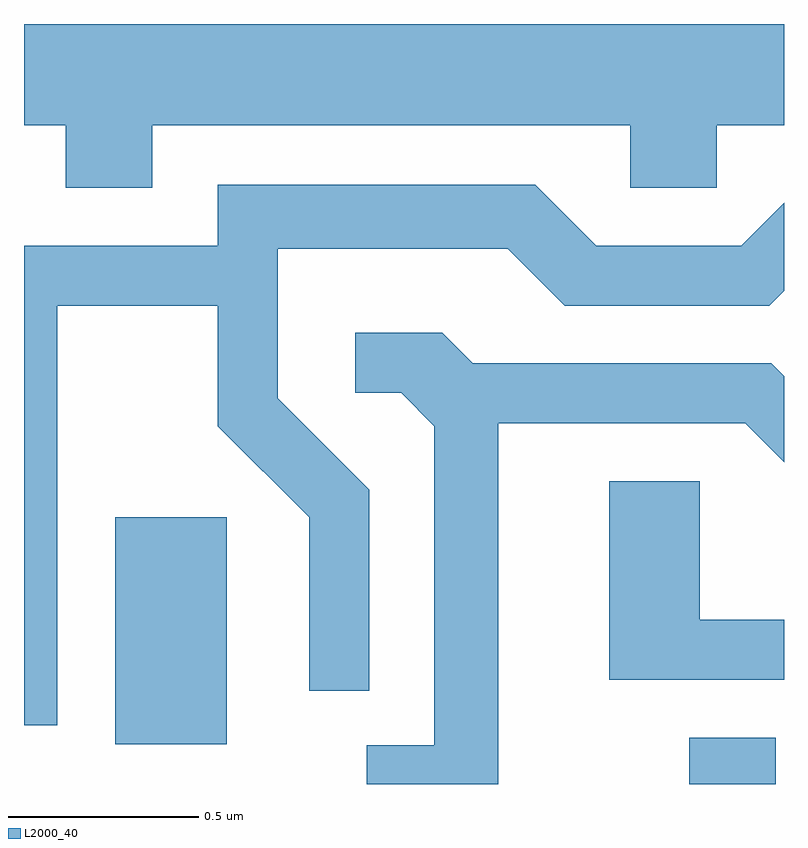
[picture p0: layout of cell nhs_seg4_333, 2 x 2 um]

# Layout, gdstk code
import gdstk
lib = gdstk.Library(unit=1e-6, precision=1e-09)
def R(c, l, rs):  # rectangles x0, y0, x1, y1
    for r in rs: c.add(gdstk.rectangle(r[:2], r[2:], *l))
def P(c, l, *ps):  # polygons
    for p in ps: c.add(gdstk.Polygon(p, *l))
L2000_40 = (2000, 40)

nhs_seg4_333 = lib.new_cell('nhs_seg4_333')
R(nhs_seg4_333, L2000_40, [(189.361,1312.982,189.589,1313.104), (187.851,1313.086,188.144,1313.684)])
P(nhs_seg4_333, L2000_40, [(187.949,1314.716),(189.206,1314.716),(189.206,1314.551),(189.434,1314.551),(189.434,1314.716),(189.611,1314.716),(189.611,1314.982),(187.611,1314.982),(187.611,1314.716),(187.721,1314.716),(187.721,1314.551),(187.949,1314.551)],
  [(187.699,1314.241),(188.121,1314.241),(188.121,1313.924),(188.361,1313.684),(188.361,1313.228),(188.519,1313.228),(188.519,1313.757),(188.279,1313.997),(188.279,1314.391),(188.884,1314.391),(189.034,1314.241),(189.572,1314.241),(189.611,1314.28),(189.611,1314.511),(189.499,1314.399),(189.117,1314.399),(188.957,1314.559),(188.121,1314.559),(188.121,1314.399),(187.611,1314.399),(187.611,1313.136),(187.699,1313.136)],
  [(188.859,1313.931),(189.509,1313.931),(189.611,1313.829),(189.611,1314.055),(189.577,1314.089),(188.792,1314.089),(188.712,1314.169),(188.483,1314.169),(188.483,1314.011),(188.604,1314.011),(188.691,1313.924),(188.691,1313.084),(188.513,1313.084),(188.513,1312.982),(188.859,1312.982)],
  [(189.611,1313.414),(189.389,1313.414),(189.389,1313.779),(189.151,1313.779),(189.151,1313.256),(189.611,1313.256)])

lib.write_gds('nhs_seg4_333.gds')
